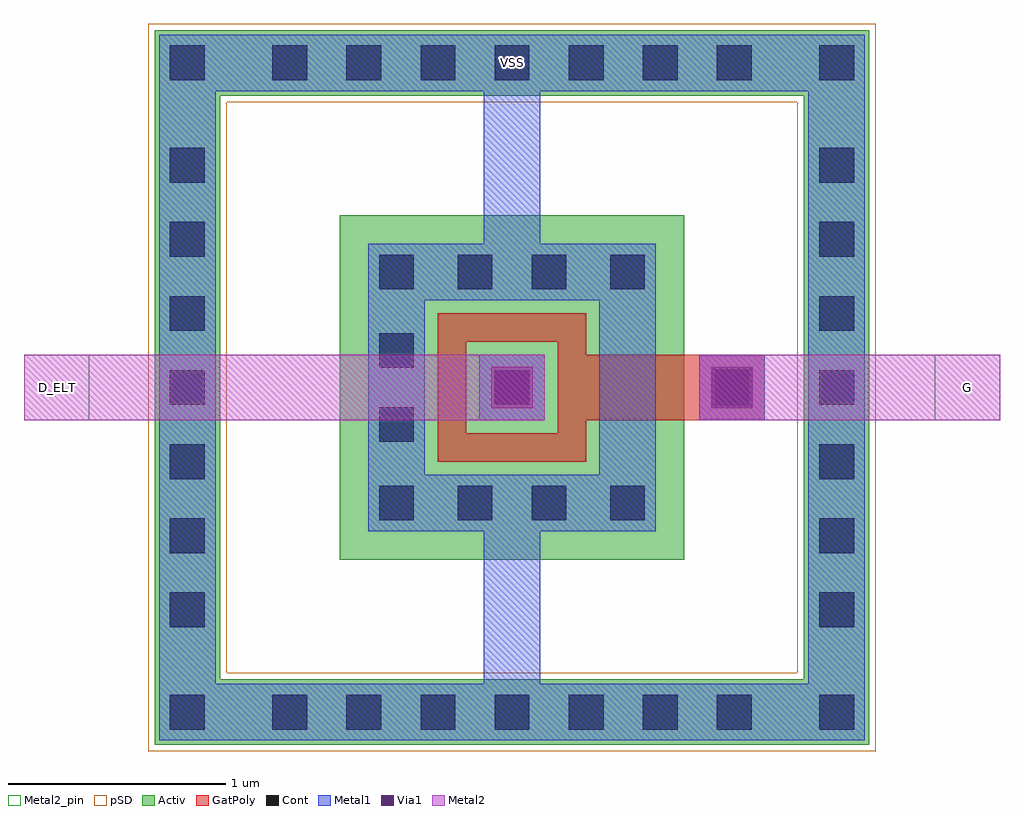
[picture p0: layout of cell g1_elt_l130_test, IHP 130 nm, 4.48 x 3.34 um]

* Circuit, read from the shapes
.subckt g1_elt_l130_test D_ELT G VSS
XM1 VSS G D_ELT VSS sg13_lv_nmos w=2.5u l=0.1684u
.ends

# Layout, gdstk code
import gdstk
lib = gdstk.Library(unit=1e-6, precision=1e-09)
def R(c, l, rs):  # rectangles x0, y0, x1, y1
    for r in rs: c.add(gdstk.rectangle(r[:2], r[2:], *l))
def A(c, l, x, y, w, h, nx, ny, dx, dy):  # array of equal rectangles
    R(c, l, [(x+i*dx, y+j*dy, x+i*dx+w, y+j*dy+h) for i in range(nx) for j in range(ny)])
def P(c, l, *ps):  # polygons
    for p in ps: c.add(gdstk.Polygon(p, *l))
Activ = (1, 0)
GatPoly = (5, 0)
Cont = (6, 0)
Metal1 = (8, 0)
Metal2 = (10, 0)
Metal2_pin = (10, 2)
pSD = (14, 0)
Via1 = (19, 0)

g1_elt_l130_test = lib.new_cell('g1_elt_l130_test')
R(g1_elt_l130_test, Activ, [(-0.79,-0.79,0.79,0.79)])
P(g1_elt_l130_test, Activ, [(-1.64,-1.64),(-1.64,1.34),(-1.34,1.34),(-1.34,-1.34),(1.34,-1.34),(1.34,1.34),(-1.64,1.34),(-1.64,1.64),(1.64,1.64),(1.64,-1.64)])
R(g1_elt_l130_test, GatPoly, [(0.34,-0.15,1.16,0.15)])
P(g1_elt_l130_test, GatPoly, [(-0.34,-0.34),(-0.34,0.21),(-0.21,0.21),(-0.21,-0.21),(0.21,-0.21),(0.21,0.21),(-0.34,0.21),(-0.34,0.34),(0.34,0.34),(0.34,-0.34)])
A(g1_elt_l130_test, Cont, -1.1, -1.57, 0.16, 0.16, 7, 2, 0.34, 2.98)
A(g1_elt_l130_test, Cont, -1.57, -1.1, 0.16, 0.16, 1, 7, 0, 0.34)
A(g1_elt_l130_test, Cont, 1.41, -1.1, 0.16, 0.16, 1, 7, 0, 0.34)
R(g1_elt_l130_test, Cont, [(-1.57,-1.57,-1.41,-1.41), (1.41,-1.57,1.57,-1.41), (-0.61,-0.61,-0.45,-0.45), (-0.25,-0.61,-0.09,-0.45), (0.09,-0.61,0.25,-0.45), (0.45,-0.61,0.61,-0.45), (-0.61,-0.25,-0.45,-0.09), (-0.08,-0.08,0.08,0.08), (0.93,-0.08,1.09,0.08), (-0.61,0.09,-0.45,0.25), (-0.61,0.45,-0.45,0.61), (-0.25,0.45,-0.09,0.61), (0.09,0.45,0.25,0.61), (0.45,0.45,0.61,0.61), (-1.57,1.41,-1.41,1.57), (1.41,1.41,1.57,1.57)])
R(g1_elt_l130_test, Metal1, [(-0.13,-1.62,0.13,-0.4), (-0.15,-0.15,0.15,0.15), (0.86,-0.15,1.16,0.15), (-0.13,0.4,0.13,1.62)])
P(g1_elt_l130_test, Metal1, [(-0.66,-0.66),(-0.66,0.4),(-0.4,0.4),(-0.4,-0.4),(0.4,-0.4),(0.4,0.4),(-0.66,0.4),(-0.66,0.66),(0.66,0.66),(0.66,-0.66)],
  [(-1.62,-1.62),(-1.62,1.36),(-1.36,1.36),(-1.36,-1.36),(1.36,-1.36),(1.36,1.36),(-1.62,1.36),(-1.62,1.62),(1.62,1.62),(1.62,-1.62)])
R(g1_elt_l130_test, Metal2, [(-2.24,-0.15,0.15,0.15), (0.86,-0.15,2.24,0.15)])
R(g1_elt_l130_test, Metal2_pin, [(-2.24,-0.15,-1.94,0.15), (1.94,-0.15,2.24,0.15)])
P(g1_elt_l130_test, pSD, [(-1.67,-1.67),(-1.67,1.31),(-1.31,1.31),(-1.31,-1.31),(1.31,-1.31),(1.31,1.31),(-1.67,1.31),(-1.67,1.67),(1.67,1.67),(1.67,-1.67)])
R(g1_elt_l130_test, Via1, [(-0.095,-0.095,0.095,0.095), (0.915,-0.095,1.105,0.095)])
g1_elt_l130_test.add(gdstk.Label('VSS', (0,1.49), layer=8, texttype=25))
g1_elt_l130_test.add(gdstk.Label('D_ELT', (-2.09,0), layer=10, texttype=25))
g1_elt_l130_test.add(gdstk.Label('G', (2.09,0), layer=10, texttype=25))

lib.write_gds('g1_elt_l130_test.gds')
